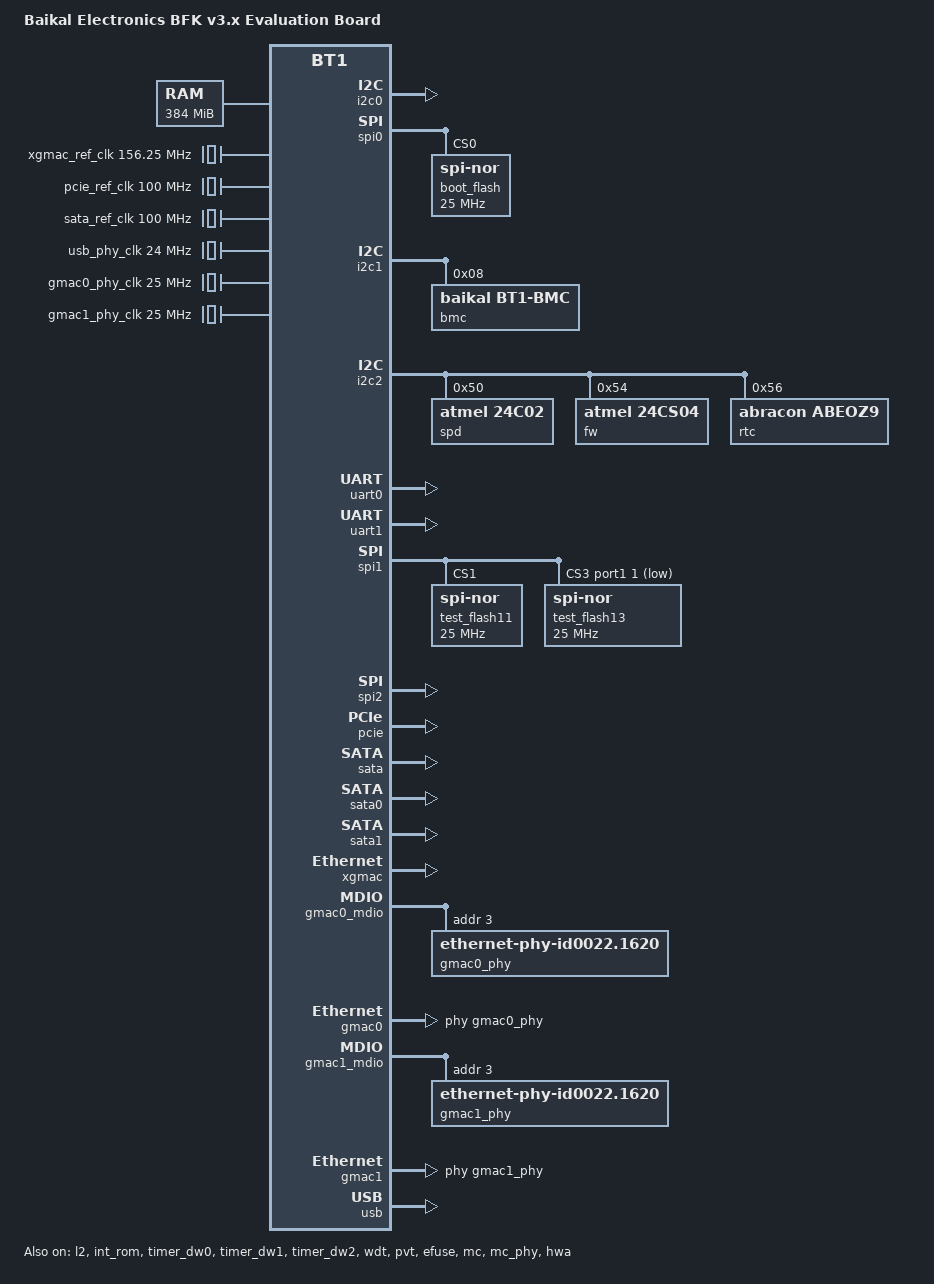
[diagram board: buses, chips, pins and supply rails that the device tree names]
// SPDX-License-Identifier: GPL-2.0-only
/*
 * Copyright (C) 2022 BAIKAL ELECTRONICS, JSC
 *
 * Baikal Electronics BFK v3.x evaluation board device tree
 */

/dts-v1/;

#include <dt-bindings/gpio/gpio.h>
#include <dt-bindings/interrupt-controller/irq.h>

#include "bt1.dtsi"
#include "krkx4-mv-sfp.dtsi"

/ {
	model = "Baikal Electronics BFK v3.x Evaluation Board";
	compatible = "baikal,bfk3", "baikal,bt1";

	chosen {
		bootargs = "console=ttyS0,115200n8 earlycon maxcpus=2";
		stdout-path = "serial0:115200n8";

		/* Bootloader may use these props to pass the initrd image */
		linux,initrd-start = <0 0>;
		linux,initrd-end   = <0 0>;
	};

	memory {
		/*
		 * Assume at least 512MB of RAM:
		 * low memory - 128MB, high memory - 256MB.
		 */
		device_type = "memory";
		reg = <0 0x00000000 0 0x08000000>,
		      <0 0x20000000 0 0x10000000>;
	};

	clocks {
		/*
		 * SATA/PCIe/xGMAC reference clocks are provided by the
		 * IDT 5P49V5901 which is out of the SoC reach and is
		 * initialized by the embedded BMC.
		 */
		xgmac_ref_clk: clock-oscillator-vc5p1 {
			compatible = "fixed-clock";
			#clock-cells = <0>;
			clock-frequency  = <156250000>;
			clock-output-names = "xgmac156m";
		};

		pcie_ref_clk: clock-oscillator-vc5p3 {
			compatible = "fixed-clock";
			#clock-cells = <0>;
			clock-frequency  = <100000000>;
			clock-output-names = "pcie100m";
		};

		sata_ref_clk: clock-oscillator-vc5p4 {
			compatible = "fixed-clock";
			#clock-cells = <0>;
			clock-frequency  = <100000000>;
			clock-output-names = "sata100m";
		};

		usb_phy_clk: clock-oscillator-usb-phy {
			compatible = "fixed-clock";
			#clock-cells = <0>;
			clock-frequency  = <24000000>;
			clock-output-names = "usbphy24m";
		};

		gmac0_phy_clk: clock-oscillator-gmac0-phy {
			compatible = "fixed-clock";
			#clock-cells = <0>;
			clock-frequency  = <25000000>;
			clock-output-names = "gmac0phy25m";
		};

		gmac1_phy_clk: clock-oscillator-gmac1-phy {
			compatible = "fixed-clock";
			#clock-cells = <0>;
			clock-frequency  = <25000000>;
			clock-output-names = "gmac1phy25m";
		};
	};
};

&l2 {
	status = "okay";
};

&i2c0 {
	status = "okay";
};

&int_rom {
	status = "okay";
};

&spi0 {
	num-cs = <1>;

	status = "okay";

	/* Micron N25Q128A11 */
	boot_flash: flash@0 {
		compatible = "jedec,spi-nor";
		#address-cells = <1>;
		#size-cells = <1>;
		reg = <0>;

		spi-max-frequency = <25000000>;
		m25p,fast-read;
	};
};

&gpio0 {
	status = "okay";
};

&gpio1 {
	status = "okay";
};

&i2c1 {
	status = "okay";

	/* STM32F205VET-based Board Management Controller */
	bmc: bmc@8 {
		compatible = "baikal,bt1-bmc";
		reg = <0x08>;
	};
};

&i2c2 {
	status = "okay";

	spd: eeprom@50 {
		compatible = "atmel,24c02";
		reg = <0x50>;

		pagesize = <8>;
	};

	/* Might be absent */
	fw: eeprom@54 {
		compatible = "atmel,24cs04";
		reg = <0x54>;

		pagesize = <8>;
	};

	rtc: rtc@56 {
		compatible = "abracon,abeoz9";
		reg = <0x56>;

		trickle-resistor-ohms = <5000>;
	};
};

&timer_dw0 {
	status = "okay";
};

&timer_dw1 {
	status = "okay";
};

&timer_dw2 {
	status = "okay";
};

&uart0 {
	status = "okay";
};

&uart1 {
	status = "okay";
};

&wdt {
	status = "okay";
};

&spi1 {
	num-cs = <4>;

	/*
	 * XP20 port switches between CS0 and port1:0 chip-selects.
	 * XP21 port switches between CS1 and port1:1 chip-selects.
	 */
	cs-gpios = <0>, <0>,
		   <&port1 0 GPIO_ACTIVE_LOW>, <&port1 1 GPIO_ACTIVE_LOW>;

	status = "okay";

	/* Micron N25Q256A13EF */
	test_flash11: flash@1 {
		compatible = "jedec,spi-nor";
		#address-cells = <1>;
		#size-cells = <1>;
		reg = <1>;

		spi-max-frequency = <25000000>;
		m25p,fast-read;
	};

	/* Micron N25Q256A13EF */
	test_flash13: flash@3 {
		compatible = "jedec,spi-nor";
		#address-cells = <1>;
		#size-cells = <1>;
		reg = <3>;

		spi-max-frequency = <25000000>;
		m25p,fast-read;
	};
};

&spi2 {
	/* XP19 port switches between CS0 and port1:2 chip-selects */
	cs-gpios = <0>, <&port1 2 GPIO_ACTIVE_LOW>;

	status = "okay";
};

&pvt {
	status = "okay";
};

&efuse {
	status = "okay";
};

&pcie {
	clocks = <&ccu_sys CCU_SYS_APB_CLK>,
		 <&ccu_axi CCU_AXI_PCIE_M_CLK>,
		 <&ccu_axi CCU_AXI_PCIE_S_CLK>,
		 <&pcie_ref_clk>;
	clock-names = "dbi", "mstr", "slv", "ref";

	status = "okay";
};

&sram {
	status = "okay";
};

&dma {
	status = "okay";
};

&mc {
	status = "okay";
};

&mc_phy {
	status = "okay";
};

&sata {
	clocks = <&ccu_sys CCU_SYS_APB_CLK>,
		 <&ccu_axi CCU_AXI_SATA_CLK>,
		 <&sata_ref_clk>;
	clock-names = "pclk", "aclk", "ref";

	status = "okay";
};

&sata0 {
	hba-port-cap = <HBA_PORT_FBSCP>;

	status = "okay";
};

&sata1 {
	hba-port-cap = <HBA_PORT_FBSCP>;

	status = "okay";
};

&xgmac_mi {
	status = "disabled";
};

&xgmac_pcs {
	clocks = <&ccu_sys CCU_SYS_XGMAC_REF_CLK>,
		 <&xgmac_ref_clk>;
	clock-names = "core", "pad";
};

&xgmac {
	clocks = <&ccu_sys CCU_SYS_APB_CLK>,
		 <&ccu_axi CCU_AXI_XGMAC_CLK>,
		 <&ccu_sys CCU_SYS_XGMAC_PTP_CLK>,
		 <&xgmac_ref_clk>;
	clock-names = "pclk", "stmmaceth", "ptp_ref", "tx";

	mac-address = [ 00 20 13 ba 1c a1 ];

	status = "okay";
};

&hwa {
	status = "okay";
};

&gmac0_mdio {
	reset-delay-us = <10200>;
	reset-post-delay-us = <1000>;

	/* Micrel KSZ9031RNX */
	gmac0_phy: ethernet-phy@3 {
		compatible = "ethernet-phy-id0022.1620";
		reg = <0x3>;

		clocks = <&gmac0_phy_clk>;
		clock-names = "ref";
	};
};

&gmac0 {
	mac-address = [ 00 26 58 80 01 02 ];

	phy-handle = <&gmac0_phy>;

	status = "okay";
};

&gmac1_mdio {
	reset-delay-us = <10200>;
	reset-post-delay-us = <1000>;

	/* Micrel KSZ9031RNX */
	gmac1_phy: ethernet-phy@3 {
		compatible = "ethernet-phy-id0022.1620";
		reg = <0x3>;

		clocks = <&gmac1_phy_clk>;
		clock-names = "ref";
	};
};

&gmac1 {
	mac-address = [ 00 26 58 80 01 03 ];

	phy-handle = <&gmac1_phy>;

	status = "okay";
};

&usb {
	status = "okay";

	ulpi {
		phy {
			clocks = <&usb_phy_clk>;
			clock-names = "ref";
		};
	};
};
